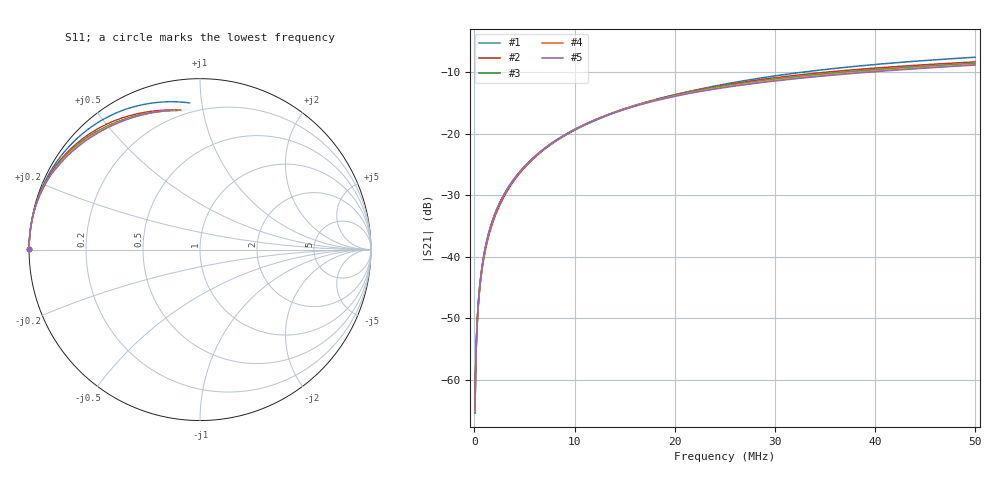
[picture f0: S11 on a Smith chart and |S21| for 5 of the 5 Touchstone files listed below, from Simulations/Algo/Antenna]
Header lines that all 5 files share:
! TOUCHSTONE file generated by CST MICROWAVE STUDIO
! Project name: tomas_icrh_linear_2016-plasma-Rdiel=200.cst
! Header version: 2015
! Port assignment regex: !\s*Touchstone port\s*([0-9]+)\s*=\s*CST MWS port\s*([0-9]+)\s*\(\"(.*)\"\)(\s*mode\s*([0-9]+))?.*
! Touchstone port assignment:
! Touchstone port 1 = CST MWS port 1 ("")
! Touchstone port 2 = CST MWS port 2 ("")
# MHZ S MA R 50
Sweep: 50 kHz to 50 MHz
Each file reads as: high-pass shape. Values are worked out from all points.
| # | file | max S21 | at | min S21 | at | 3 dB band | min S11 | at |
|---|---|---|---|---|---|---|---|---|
| 1 | Tomas-Ref_geo-R=200-Diel_eps=0200.s2p | -7.59 dB | 50 MHz | -65.3 dB | 50 kHz | 30.15 MHz-50 MHz | -1.3 dB | 50 MHz |
| 2 | Tomas-Ref_geo-R=200-Diel_eps=1000.s2p | -8.34 dB | 50 MHz | -64.8 dB | 50 kHz | 28.1 MHz-50 MHz | -1.7 dB | 50 MHz |
| 3 | Tomas-Ref_geo-R=200-Diel_eps=1500.s2p | -8.59 dB | 50 MHz | -65.4 dB | 50 kHz | 27.8 MHz-50 MHz | -1.7 dB | 50 MHz |
| 4 | Tomas-Ref_geo-R=200-Diel_eps=2000.s2p | -8.75 dB | 50 MHz | -65.1 dB | 50 kHz | 27.8 MHz-50 MHz | -1.6 dB | 50 MHz |
| 5 | Tomas-Ref_geo-R=200-Diel_eps=2500.s2p | -8.87 dB | 50 MHz | -65.1 dB | 50 kHz | 27.95 MHz-50 MHz | -1.6 dB | 50 MHz |
